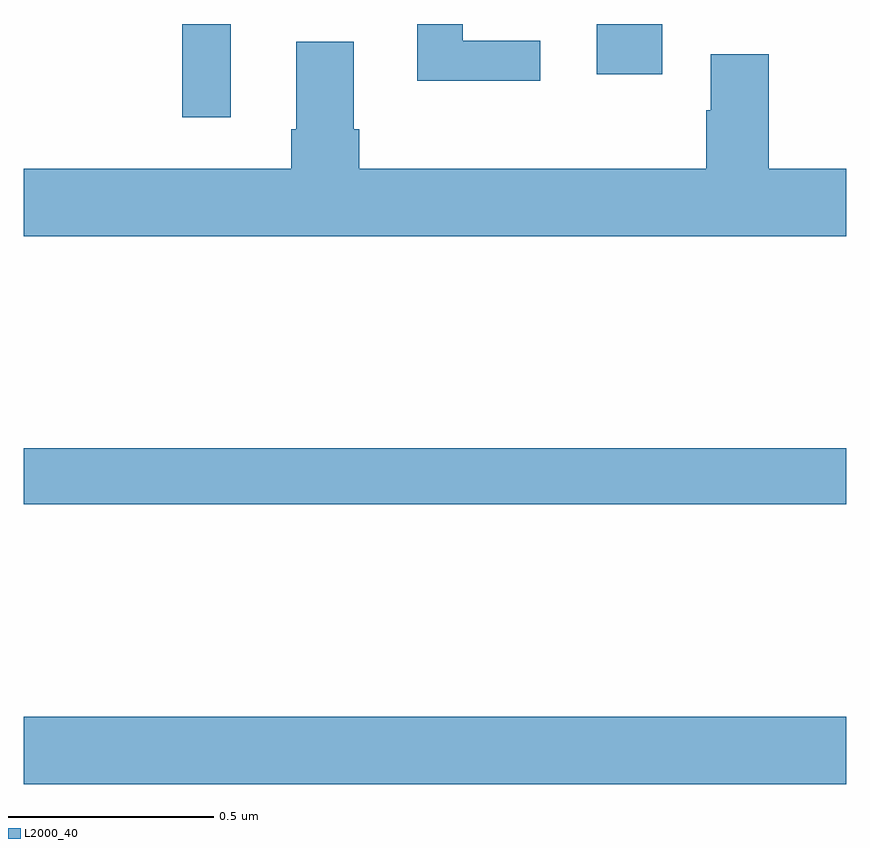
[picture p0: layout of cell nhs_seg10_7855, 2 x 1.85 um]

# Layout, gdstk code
import gdstk
lib = gdstk.Library(unit=1e-6, precision=1e-09)
def R(c, l, rs):  # rectangles x0, y0, x1, y1
    for r in rs: c.add(gdstk.rectangle(r[:2], r[2:], *l))
def P(c, l, *ps):  # polygons
    for p in ps: c.add(gdstk.Polygon(p, *l))
L2000_40 = (2000, 40)

nhs_seg10_7855 = lib.new_cell('nhs_seg10_7855')
R(nhs_seg10_7855, L2000_40, [(209,1297.652,211,1297.816), (209,1298.332,211,1298.468), (209.386,1299.273,209.503,1299.5), (210.393,1299.378,210.552,1299.5)])
P(nhs_seg10_7855, L2000_40, [(210.256,1299.459),(210.067,1299.459),(210.067,1299.5),(209.957,1299.5),(209.957,1299.362),(210.256,1299.362)],
  [(211,1299.148),(210.811,1299.148),(210.811,1299.427),(210.671,1299.427),(210.671,1299.29),(210.659,1299.29),(210.659,1299.148),(209.816,1299.148),(209.816,1299.244),(209.803,1299.244),(209.803,1299.457),(209.663,1299.457),(209.663,1299.244),(209.651,1299.244),(209.651,1299.148),(209,1299.148),(209,1298.984),(211,1298.984)])

lib.write_gds('nhs_seg10_7855.gds')
